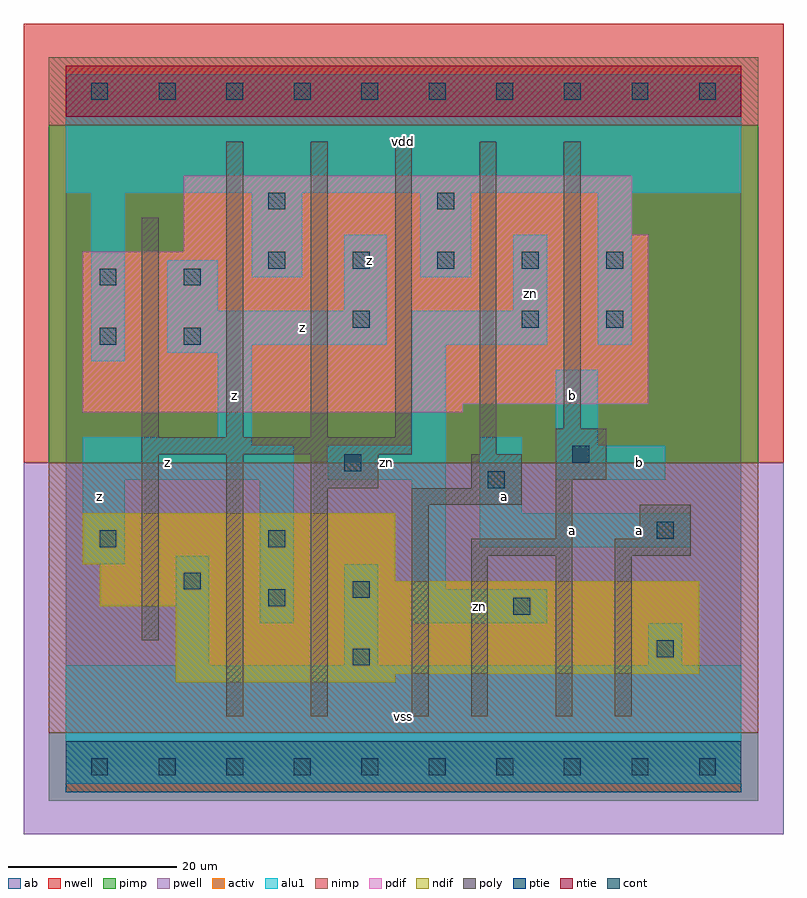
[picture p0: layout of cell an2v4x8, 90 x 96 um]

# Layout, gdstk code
import gdstk
lib = gdstk.Library(unit=1e-6, precision=1e-09)
def R(c, l, rs):  # rectangles x0, y0, x1, y1
    for r in rs: c.add(gdstk.rectangle(r[:2], r[2:], *l))
def A(c, l, x, y, w, h, nx, ny, dx, dy):  # array of equal rectangles
    R(c, l, [(x+i*dx, y+j*dy, x+i*dx+w, y+j*dy+h) for i in range(nx) for j in range(ny)])
ndif = (3, 0)
pdif = (4, 0)
ntie = (5, 0)
ptie = (6, 0)
cont = (25, 0)
pwell = (41, 0)
nwell = (42, 0)
activ = (43, 0)
pimp = (44, 0)
nimp = (45, 0)
poly = (46, 0)
alu1 = (49, 0)
ab = (63, 0)

an2v4x8 = lib.new_cell('an2v4x8')
R(an2v4x8, ndif, [(13,10,39,11), (13,11,75,19), (4,19,75,22), (4,22,39,24), (2,24,39,30)])
R(an2v4x8, pdif, [(2,42,47,43), (2,43,69,61), (14,61,69,63), (14,63,67,70)])
R(an2v4x8, ntie, [(0,77,80,83)])
R(an2v4x8, ptie, [(0,-3,80,3)])
A(an2v4x8, cont, 3, -1, 2, 2, 10, 2, 8, 80)
A(an2v4x8, cont, 24, 59, 2, 2, 5, 1, 10, 0)
R(an2v4x8, cont, [(34,12,36,14), (70,13,72,15), (53,18,55,20), (24,19,26,21), (34,20,36,22), (14,21,16,23), (4,26,6,28), (24,26,26,28), (70,27,72,29), (50,33,52,35), (33,35,35,37), (60,36,62,38), (4,50,6,52), (14,50,16,52), (34,52,36,54), (54,52,56,54), (64,52,66,54), (4,57,6,59), (14,57,16,59), (24,66,26,68), (44,66,46,68)])
R(an2v4x8, pwell, [(-5,-8,85,36)])
R(an2v4x8, nwell, [(-5,36,85,88)])
R(an2v4x8, activ, [(0,-3,80,3), (13,10,39,11), (13,11,75,19), (4,19,75,22), (4,22,39,24), (2,24,39,30), (2,42,47,43), (2,43,69,61), (14,61,69,63), (14,63,67,70), (0,77,80,83)])
R(an2v4x8, pimp, [(-2,-4,82,4), (-2,36,82,76)])
R(an2v4x8, nimp, [(-2,4,82,36), (-2,76,82,84)])
A(an2v4x8, poly, 19, 39, 2, 35, 3, 1, 10, 0)
R(an2v4x8, poly, [(19,6,21,37), (29,6,31,33), (41,6,43,31), (48,6,50,25), (58,6,60,25), (65,6,67,25), (9,15,11,37), (48,25,60,27), (65,25,74,27), (58,27,60,34), (68,27,74,31), (41,31,54,33), (29,33,37,37), (48,33,54,37), (58,34,64,40), (9,37,41,39), (49,37,51,74), (9,39,11,65), (59,40,61,74)])
R(an2v4x8, alu1, [(0,-2,80,12), (13,12,17,25), (33,12,37,24), (69,12,73,17), (23,17,27,34), (41,17,57,21), (41,21,45,34), (2,24,7,34), (49,26,74,30), (49,30,54,39), (2,34,27,38), (31,34,45,38), (58,34,71,38), (2,38,22,39), (41,38,45,50), (58,38,63,47), (18,39,22,49), (3,48,7,68), (12,49,22,50), (12,50,38,54), (41,50,57,54), (63,50,67,68), (12,54,18,60), (33,54,38,63), (53,54,57,63), (22,58,28,68), (42,58,48,68), (0,68,80,82)])
R(an2v4x8, ab, [(0,0,80,80)])
an2v4x8.add(gdstk.Label('zn', (49,19), layer=49, texttype=0))
an2v4x8.add(gdstk.Label('zn', (38,36), layer=49, texttype=0))
an2v4x8.add(gdstk.Label('zn', (55,56), layer=49, texttype=0))
an2v4x8.add(gdstk.Label('z', (4,32), layer=49, texttype=0))
an2v4x8.add(gdstk.Label('z', (12,36), layer=49, texttype=0))
an2v4x8.add(gdstk.Label('z', (20,44), layer=49, texttype=0))
an2v4x8.add(gdstk.Label('z', (28,52), layer=49, texttype=0))
an2v4x8.add(gdstk.Label('z', (36,60), layer=49, texttype=0))
an2v4x8.add(gdstk.Label('vss', (40,6), layer=49, texttype=0))
an2v4x8.add(gdstk.Label('a', (52,32), layer=49, texttype=0))
an2v4x8.add(gdstk.Label('vdd', (40,74), layer=49, texttype=0))
an2v4x8.add(gdstk.Label('a', (60,28), layer=49, texttype=0))
an2v4x8.add(gdstk.Label('b', (68,36), layer=49, texttype=0))
an2v4x8.add(gdstk.Label('a', (68,28), layer=49, texttype=0))
an2v4x8.add(gdstk.Label('b', (60,44), layer=49, texttype=0))

lib.write_gds('an2v4x8.gds')
